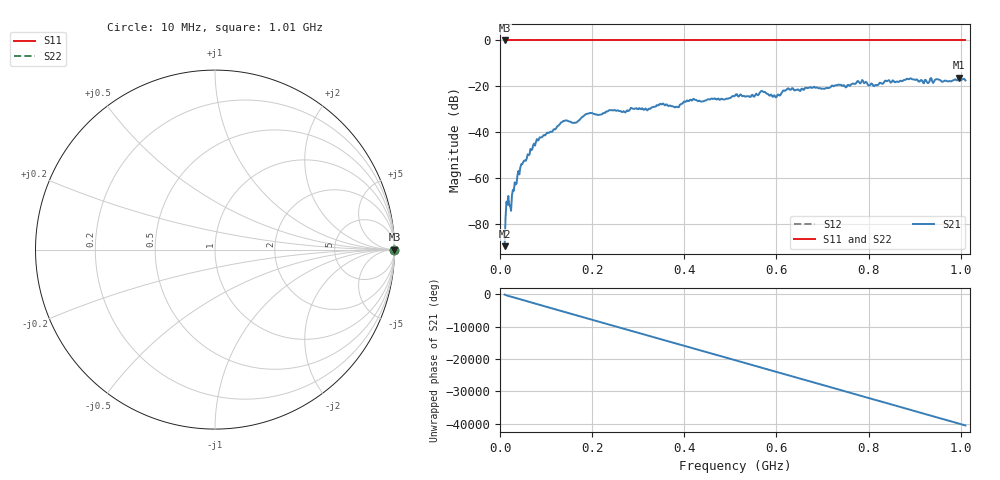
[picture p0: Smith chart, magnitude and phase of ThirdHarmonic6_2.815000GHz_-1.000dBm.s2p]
! 8/17/2025 7:25:06 AM
! C:\ANRITSUVNA\TEMP\TEMP.S2P
! CHANNEL.1
! TR.MEASUREMENT
! RAW.DATA
! RF.CORRECTION.OFF
! AVERAGING.OFF
! IF.BANDWIDTH: 5KHZ
! SWEEPTYPE:  FREQ.SWEEP(Linear)
! Reference Plane Port Info
! PORT:  PORT1  PORT2
! DISTANCE:  0  m  0  m
! TIME:  0  s  0  s
! PHASE.OFFSET:  0  deg.  0  deg.
! LOSS:  0  dB  0  dB
! REF.LOSS:  0  dB  0  dB
! REF.FREQ:  0  Hz  0  Hz
! Power Info
! POWER:  -20  dBm  -20  dBm
! EFF.POWER:  -20  dBm  -20  dBm
! SOURCE.ATTEN:  0  dB  0  dB
! TEST.ATTEN:  0  dB  0  dB
# GHZ S RI R 50.0
! FREQ.GHZ  S11RE  S11IM  S21RE  S21IM  S12RE  S12IM  S22RE  S22IM
!; PortSelection: Port_12
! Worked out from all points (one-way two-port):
!   501 points, 10 MHz to 1.01 GHz, reference 50 ohm
!   highest |S21| = -16.26 dB at 996 MHz (marker M1); lowest = -89.5 dB at 10 MHz (marker M2)
!   lowest |S11| = 0.0 dB at 10 MHz (marker M3)
!   |S11| at or under -10 dB: nowhere
!   |S22| runs from 0.0 to 0.0 dB; largest |S21 - S12| = 1.1
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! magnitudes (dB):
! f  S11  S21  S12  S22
! 10 MHz  0.0  -89.5  0.0  0.0
! 16 MHz  0.0  -71.5  0.0  0.0
! 24 MHz  0.0  -74.2  0.0  0.0
! 42 MHz  0.0  -58.3  0.0  0.0
! 76 MHz  0.0  -45.8  0.0  0.0
! 136 MHz  0.0  -35.3  0.0  0.0
! 164 MHz  0.0  -35.8  0.0  0.0
! 178 MHz  0.0  -33.3  0.0  0.0
! 344 MHz  0.0  -28.3  0.0  0.0
! 384 MHz  0.0  -28.9  0.0  0.0
! 416 MHz  0.0  -26.2  0.0  0.0
! 510 MHz  0.0  -24.0  0.0  0.0
! 548 MHz  0.0  -23.6  0.0  0.0
! 570 MHz  0.0  -22.2  0.0  0.0
! 596 MHz  0.0  -23.9  0.0  0.0
! 624 MHz  0.0  -20.9  0.0  0.0
! 678 MHz  0.0  -20.6  0.0  0.0
! 790 MHz  0.0  -18.6  0.0  0.0
! 814 MHz  0.0  -19.5  0.0  0.0
! 844 MHz  0.0  -17.2  0.0  0.0
! 996 MHz  0.0  -16.3  0.0  0.0
! 1.01 GHz  0.0  -17.4  0.0  0.0
